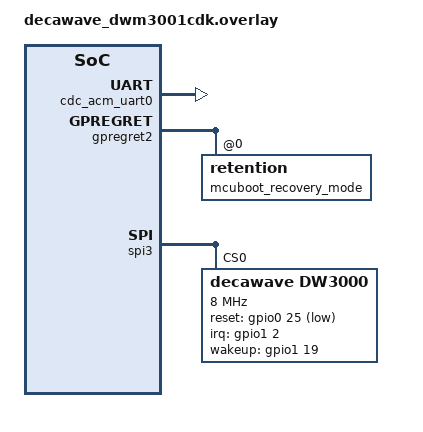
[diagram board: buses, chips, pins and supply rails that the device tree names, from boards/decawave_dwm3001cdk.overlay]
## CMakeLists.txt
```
# DWM3001CDK standalone credential lock: the reader engine, the CCC/FiRa responder,
# the DW3110 driver and the BLE stack in one nRF52833 image.
#
# ultrawidelock_uwb and modules/ultrawidelock_dw3000 come in as Zephyr modules because they carry their own
# Kconfig gating. modules/ultrawidelock_cred's reader core is listed
# directly here, the way tests/on_target/zephyr/nrf5340dk-ultrawidelock-device-ec does, so the nRF5340 build
# that consumes that module through CONFIG_ULTRAWIDELOCK_CRED_STACK stays untouched.
cmake_minimum_required(VERSION 3.20.0)

get_filename_component(REPO_ROOT "${CMAKE_CURRENT_LIST_DIR}/../.." ABSOLUTE)
# modules/ultrawidelock_cred is listed for its Kconfig alone: the reader sources use the
# LOG_MODULE the `module = ULTRAWIDELOCK_CRED` template declares, so CONFIG_ULTRAWIDELOCK_CRED_LOG_LEVEL
# has to exist. Its CMakeLists is gated on CONFIG_ULTRAWIDELOCK_CRED_STACK, which stays n
# here, so it contributes no sources and the nRF5340 build is unaffected.
# modules/ultrawidelock_anchor is listed on the same terms: its CMakeLists is gated on
# CONFIG_ULTRAWIDELOCK_ANCHOR, which is default n, so listing it here costs the default
# build nothing and only makes `overlay-anchor.conf` able to turn it on.
# modules/ultrawidelock_ml likewise, gated on CONFIG_ULTRAWIDELOCK_ML_LOS: default n, so the shipping
# image is byte-identical without it and only overlays/mlgate.conf turns it on.
list(APPEND ZEPHYR_EXTRA_MODULES
	"${REPO_ROOT}/modules/ultrawidelock_cred"
	"${REPO_ROOT}/modules/ultrawidelock_anchor"
	"${REPO_ROOT}/modules/ultrawidelock_matter"
	"${REPO_ROOT}/modules/ultrawidelock_ml"
	"${REPO_ROOT}/modules/ultrawidelock_uwb"
	"${REPO_ROOT}/modules/ultrawidelock_dw3000"
	"${REPO_ROOT}/ports/zephyr")

find_package(Zephyr REQUIRED HINTS $ENV{ZEPHYR_BASE})
project(ultrawidelock_reader_dwm3001cdk)

# Faster UWB evidence settings are measurements, not release policy. Refuse a
# configuration that could lower either floor without both explicit bench
# acknowledgement and strict STS enforcement.
if((CONFIG_ULTRAWIDELOCK_RANGE_TRUST_K LESS 3 OR
    CONFIG_ULTRAWIDELOCK_APPROACH_NEAR_DWELL LESS 2) AND
   (NOT CONFIG_ULTRAWIDELOCK_BENCH OR NOT CONFIG_ULTRAWIDELOCK_RANGE_GATE_STRICT))
	message(FATAL_ERROR
		"Reduced UWB consensus/dwell requires CONFIG_ULTRAWIDELOCK_BENCH=y "
		"and CONFIG_ULTRAWIDELOCK_RANGE_GATE_STRICT=y")
endif()

# APPROTECT must never be locked on this board. SystemInit() re-asserts the lock
# on every boot and the only way out is `nrfjprog --recover`, which mass-erases
# flash AND UICR -- taking settings_storage at 0x7e000 with it, and with that the
# reader private key and every iPhone key already provisioned against this board.
#
# This is the configure-time half of the guard: it fails the build of THIS image
# before a hex exists. scripts/check-approtect.sh is the other half and is the
# one that covers MCUboot, whose config lives outside this CMakeLists entirely.
# Both are needed -- the setting can arrive from a board defconfig or an SoC
# default that no grep of this tree would find, which is why the check that
# matters reads the GENERATED .config.
if(CONFIG_NRF_APPROTECT_LOCK OR CONFIG_NRF_SECURE_APPROTECT_LOCK)
	message(FATAL_ERROR
		"APPROTECT lock is enabled for this image. Refusing to build.\n"
		"  CONFIG_NRF_APPROTECT_LOCK        = ${CONFIG_NRF_APPROTECT_LOCK}\n"
		"  CONFIG_NRF_SECURE_APPROTECT_LOCK = ${CONFIG_NRF_SECURE_APPROTECT_LOCK}\n"
		"Locking is a one-way door for this board's DATA: recovering debug "
		"access costs a mass erase of flash and UICR, which destroys "
		"settings_storage and the reader identity. Export it first with "
		"`ultrawidelock export yes` if you genuinely intend this.")
endif()

set(CRED "${REPO_ROOT}/modules/ultrawidelock_cred")
set(PORTZ "${REPO_ROOT}/ports/zephyr")

# Reader-role source sets come from the role manifests (modules/ultrawidelock_cred/
# roles/*.list) — the same lists the ESP32 components, the nRF5340 apps and the
# host suite read, so each role's file set exists in exactly one place.
include("${REPO_ROOT}/cmake/ultrawidelock_roles.cmake")
ultrawidelock_role_sources("${CRED}/roles/reader.list" ULTRAWIDELOCK_READER_SRCS)
ultrawidelock_role_sources("${CRED}/roles/reader_policy.list" ULTRAWIDELOCK_POLICY_SRCS)
ultrawidelock_role_sources("${CRED}/roles/apdu.list" ULTRAWIDELOCK_APDU_SRCS)
ultrawidelock_role_sources("${CRED}/roles/crypto.list" ULTRAWIDELOCK_CRYPTO_SRCS)
ultrawidelock_role_sources("${CRED}/roles/hash.list" ULTRAWIDELOCK_HASH_SRCS)
ultrawidelock_role_sources("${CRED}/roles/dyntag.list" ULTRAWIDELOCK_DYNTAG_SRCS)
ultrawidelock_role_sources("${CRED}/roles/ble_central.list" ULTRAWIDELOCK_BLE_CENTRAL_SRCS)

target_sources(app PRIVATE
	src/main.c
	src/ml_feed.c
	# Platform seams the reader engine links against, re-homed to ports/zephyr
	# with the rest of the Zephyr glue. Listed by path rather than compiled by
	# the ultrawidelock_zephyr_port module because they are unconditional app glue with
	# no Kconfig gate to ride — this app IS the gate.
	${PORTZ}/ble/ultrawidelock_ble_zephyr.c
	${PORTZ}/store/ultrawidelock_prov_settings.c
	# Reader engine: roles reader + reader_policy + apdu + crypto + hash + dyntag.
	${ULTRAWIDELOCK_READER_SRCS}
	${ULTRAWIDELOCK_POLICY_SRCS}
	${ULTRAWIDELOCK_APDU_SRCS}
	${ULTRAWIDELOCK_CRYPTO_SRCS}
	${ULTRAWIDELOCK_HASH_SRCS}
	${ULTRAWIDELOCK_DYNTAG_SRCS}
)
if(CONFIG_ULTRAWIDELOCK_BENCH_CRED_O2)
	set_source_files_properties(
		"${CRED}/src/ultrawidelock_reader.c"
		"${CRED}/src/ultrawidelock_crypto.c"
		"${CRED}/src/ultrawidelock_hash.c"
		"${CRED}/src/ultrawidelock_prim_psa.c"
		PROPERTIES COMPILE_OPTIONS "-O2")
endif()
# Provisioning console (USB CDC-ACM, provisioning mode only).
target_sources_ifdef(CONFIG_ULTRAWIDELOCK_SIDE_GATE app PRIVATE src/side_feed.c)
# Measurement only; CONFIG_ULTRAWIDELOCK_THREAD_GATE defaults n so this is absent from
# every shipping image.
target_sources_ifdef(CONFIG_ULTRAWIDELOCK_THREAD_GATE app PRIVATE src/thread_gate.c)
# The two DoorLockAlarms, and the door-angle state they need. ANCHOR is default
# n, so the shipping image never compiles this. Both symbols, not just ANCHOR:
# the alarm is a Matter event, and `make reader ANCHOR=1` is an anchor build
# with no Matter node to carry one.
if(CONFIG_ULTRAWIDELOCK_ANCHOR AND CONFIG_ULTRAWIDELOCK_MATTER_BLE)
	target_sources(app PRIVATE src/door_alarm.c)
endif()
# The DFU receiver's BLE transport (ports/zephyr/dfu/dfu_ble_zephyr.c) and the
# rest of the gated Zephyr glue compile via the ultrawidelock_zephyr_port module under
# the same CONFIG symbols.
# The board's only output. NOT gated on the DFU receiver any more: the update
# window was the first thing worth showing, not the only one, and the `reader`
# image has no receiver and used to light nothing at all.
target_sources_ifdef(CONFIG_ULTRAWIDELOCK_STATUS_LED app PRIVATE src/status_led.c)
target_sources_ifdef(CONFIG_ULTRAWIDELOCK_CIRDIAG_CAPTURE app PRIVATE src/cirdiag_capture.c)
target_sources_ifdef(CONFIG_ULTRAWIDELOCK_CASE_BENCH app PRIVATE src/case_bench.c)
# Initiator (User-Device role) transport: ultrawidelock_zephyr_port compiles the central
# mirror of ultrawidelock_ble_zephyr.c under this gate; the platform-free advert/READ
# decoder it calls is the same translation unit the ESP32 port and the host
# suite compile.
target_sources_ifdef(CONFIG_ULTRAWIDELOCK_BLE_CENTRAL app PRIVATE ${ULTRAWIDELOCK_BLE_CENTRAL_SRCS})
# The commissioning policy half; its transport, Thread/fabric ports and fabric
# table store live in ports/zephyr/{matter,store} under the same gate.
target_sources_ifdef(CONFIG_ULTRAWIDELOCK_MATTER_BLE app PRIVATE src/matter_commission.c)

# CONFIG_MBEDTLS_MEMORY_DEBUG=y is a NO-OP in this build and sets no define.
# nrf_security only wires that symbol through configs/legacy_crypto_config.h.template
# (`#cmakedefine MBEDTLS_MEMORY_DEBUG`, line 1268); a PSA-only build
# (CONFIG_OBERON_ONLY_PSA_ENABLED) generates nrf-config.h from a different
# template that has no slot for it, so the Kconfig is accepted and silently
# dropped. The app then compiles against a declaration the library never
# defined and the link fails on mbedtls_memory_buffer_alloc_max_get.
#
# Define it for every target instead. Safe because the only struct it changes,
# buffer_alloc_ctx, is file-local to mbedtls/library/memory_buffer_alloc.c, so
# there is no layout to get out of step across compilation units.
if(CONFIG_ULTRAWIDELOCK_HEAP_PROBE)
	zephyr_compile_definitions(MBEDTLS_MEMORY_DEBUG)
endif()
# src for matter_commission.h (included by the re-homed ultrawidelock_ble_zephyr.c);
# ${PORTZ}/{matter,store} for the re-homed matter_ble_zephyr.h and
# matter_fab_settings.h, which main.c and matter_commission.c include
# regardless of CONFIG_ULTRAWIDELOCK_MATTER_BLE.
target_include_directories(app PRIVATE ${CRED}/include ${CRED}/src src
	${PORTZ}/matter ${PORTZ}/store)
```

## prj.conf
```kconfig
# DWM3001CDK standalone credential reader.
#
# The whole file is written against one constraint: 480 KB of code space, from
# the single-image partition layout in boards/decawave_dwm3001cdk.overlay. The
# stock board map would have given the app 224 KB, which is not enough. Every
# "=n" below is load-bearing, not tidiness.

CONFIG_SIZE_OPTIMIZATIONS=y

# One-shot application -> MCUboot recovery request in nRF52833 GPREGRET2.
# A normal boot performs no wait; the runtime SW2 hold sets this byte first.
CONFIG_RETAINED_MEM=y
CONFIG_RETENTION=y
CONFIG_RETENTION_BOOT_MODE=y

# ---- BLE: peripheral only, one connection, no bonding -----------------------
# credential runs its own application-layer secure channel over the L2CAP CoC, so
# BLE pairing/bonding buys nothing and costs both flash and a walk-up prompt.
# The shipped ESP32-S3 reader is unpaired for the same reason and unlocks a
# real iPhone Wallet key.
CONFIG_BT=y
CONFIG_BT_PERIPHERAL=y
CONFIG_BT_CENTRAL=n
CONFIG_BT_OBSERVER=n
CONFIG_BT_BROADCASTER=y
CONFIG_BT_MAX_CONN=1
CONFIG_BT_MAX_PAIRED=0
# SMP is compiled in only because Zephyr makes L2CAP CoC depend on it
# (zephyr/subsys/bluetooth/host/Kconfig.l2cap:49) — NimBLE does not, which is
# why the ESP32 port never needed this. It is never exercised: the GATT
# characteristics carry no _ENC/_AUTHEN permission, the L2CAP server sits at
# BT_SECURITY_L1, and nothing calls bt_conn_set_security. So the reader still
# never asks a phone to pair, which is the property the live-iPhone unlock
# depends on. Costed at stage 0 rather than assumed away.
CONFIG_BT_SMP=y
CONFIG_BT_BONDABLE=n
CONFIG_BT_SIGNING=n
CONFIG_BT_GATT_CACHING=n
CONFIG_BT_GATT_DYNAMIC_DB=n
CONFIG_BT_DEVICE_NAME="ultrawidelock"

# Connection interval: ask for 15-30 ms instead of riding whatever iOS picks.
#
# Every BLE flow on this board is round-trip bound, and one of them pays triple:
# the 255 B ACL buffer below splits a 512 B credential APDU across three PDUs, so an
# APDU costs up to three connection events in each direction. BTP fragments,
# CoC APDUs and DFU chunks all scale straight off the interval.
#
# This is Kconfig rather than a bt_conn_le_param_update() call BECAUSE of how
# the Zephyr peripheral works: that call does NOT send anything while the
# post-connect timer is still pending (host/conn.c:3786) -- it only stores the
# parameters for the timer to use. The request goes out when
# BT_CONN_PARAM_UPDATE_TIMEOUT fires, so the timeout IS the lever, and the PREF
# values are what gets sent. Adding a call site would have changed nothing.
#
# 300 ms rather than the stock 5,000: the whole walk-up transaction is ~650 ms,
# so a request at 5 s arrives after every flow it could have helped. The link
# layer needs >= 6 connection events of instant delay anyway, so the faster
# interval lands mid-transaction, not at its start.
#
# 12/24/0/200 = 15-30 ms, no latency, 2 s supervision. Valid per
# hci_core.c:1947-1960 and inside Apple's accessory guideline (min >= 15 ms,
# max >= min + 15 ms).
#
# MEASURED, and the reason the window is back to 12-24 rather than something
# cleverer: this iPhone grants 30 ms whatever it is asked for. Both 12-24 and
# 12-18 (a range whose only multiple of 15 ms is 15) came back as
# "interval 30.00 ms, latency 0, timeout 2000 ms" on 2026-08-06, on the
# commissioning link and again on the walk-up link. It honours the latency and
# the supervision timeout and picks the interval itself, so 30 ms is this
# phone's floor for this accessory and not a thing this end can bargain over.
# What survives is worth keeping -- 2 s of supervision instead of Zephyr's
# 420 ms default, and a request that arrives in time to matter if any other
# central (Android, a Home Assistant host, a controller doing DFU) does grant
# it -- but do not expect a faster walk-up from this knob on iOS.
CONFIG_BT_CONN_PARAM_UPDATE_TIMEOUT=300
CONFIG_BT_PERIPHERAL_PREF_MIN_INT=12
CONFIG_BT_PERIPHERAL_PREF_MAX_INT=24
CONFIG_BT_PERIPHERAL_PREF_LATENCY=0
CONFIG_BT_PERIPHERAL_PREF_TIMEOUT=200

# L2CAP CoC carries the credential transaction. 512-byte SDUs match the ESP port.
CONFIG_BT_L2CAP_DYNAMIC_CHANNEL=y
CONFIG_BT_L2CAP_TX_MTU=512
# Sized for a PDU, not an SDU. The host's HCI receive pool is UNIFIED and gives
# every buffer the largest of the ACL and event sizes (buf.h:165, buf.h:175), so
# a 527 B ACL buffer made all twelve cost 527 B: 6,384 B measured in .bss for a
# geometry only one of them needed. Nothing here reassembles into that pool --
# coc_alloc_buf() hands the host an s_coc_rx_pool buffer of its own and Zephyr
# builds the SDU there. At 255 the MPS falls to ~251, a 512 B SDU rides three
# PDUs instead of one, and the pool costs 3,060 B. The price is two extra
# connection events per credential APDU, which is nothing against a walk-up. BTP is
# untouched: it rides GATT at an ATT MTU of 247, which still fits one PDU.
CONFIG_BT_BUF_ACL_RX_SIZE=255
CONFIG_BT_BUF_ACL_TX_SIZE=251
# NOT raised, and worth a line so it is not tried again. CONFIG_BT_BUF_EVT_RX_SIZE
# cannot change what the controller checks: hci_driver.c compares against
# HCI_RX_BUF_SIZE = BT_BUF_RX_SIZE = MAX(ACL_RX_SIZE + 4, EVT_RX_SIZE + 2), which
# the 255 above already fixes at 259. Measured: raising it to 255 moved nothing
# and cost 752 B of RAM, a quarter of what this image has left.
CONFIG_BT_EATT=n

# ---- crypto -----------------------------------------------------------------
# nRF52833 has no CryptoCell, so PSA lands on the software nrf_oberon backend.
# That is a speed and flash cost, not a blocker. Same PSA_WANT set the nRF5340
# on-target EC self-test proved (tests/on_target/zephyr/nrf5340dk-ultrawidelock-device-ec/prj.conf).
CONFIG_NRF_SECURITY=y
CONFIG_MBEDTLS_PSA_CRYPTO_C=y
CONFIG_MBEDTLS_ENABLE_HEAP=y
# MEASURED, not argued. 16384 was a guess carried from the ESP port and it was
# the largest single object in .bss. With ULTRAWIDELOCK_HEAP_PROBE the peak across boot,
# PASE and a full CASE handshake is 228 B in 11 blocks -- reproduced on two
# independent runs, the second on a fully erased board with a new SRP key and a
# new node id. The Kconfig help for ULTRAWIDELOCK_HEAP_PROBE predicted this: the build
# is OBERON_ONLY_PSA_ENABLED with no MBEDTLS_BIGNUM_C or ECP_C, so ECDH and
# ECDSA run in driver stack buffers and only PSA key-slot material is ever
# mbedtls_calloc'd.
#
# 1024 kept 4.5x the measured peak, and it was not a fresh guess: the reader
# build was rebuilt at exactly that value and a live iPhone still unlocked, on a
# fresh session, for a saving of 15,360 B. CASE's own peak is 380 B, measured by
# ULTRAWIDELOCK_CASE_BENCH, so 1024 covered both users of this heap with room over.
#
# This line used to carry a caution -- "NOT cut to peak+2048: the one path this
# image cannot exercise is a credential unlock, because a Matter build carries no
# reader identity". That premise expired on 2026-08-02, when Apple Home began
# provisioning the reader itself and this image started doing full walk-up
# unlocks. The path the caution was about is now exercised by the very walk-up
# that validates every other RAM change, which is what makes the cut checkable
# rather than merely argued.
#
# 512 WAS TRIED ON 2026-08-03 AND BROKE MATTER OVER THREAD. Do not try it again
# without reading this, because the argument for it looks airtight and the
# failure lands nowhere near the heap.
#
# The 228 B peak above is real and was never wrong. What it does not cover is
# the one allocation this image makes rarely and cannot do without: creating a
# PERSISTENT PSA key. OpenThread's SRP client does exactly that -- this build
# has OPENTHREAD_CONFIG_PLATFORM_KEY_REFERENCES_ENABLE=1, so its ECDSA key is
# generated at PSA_KEY_LIFETIME_PERSISTENT (crypto_psa.c:591), which serialises
# the key, seals it with ChaCha20-Poly1305 and writes it through
# trusted_storage. None of that runs on the boot, PASE or CASE paths the 228 B
# was measured across, and none of it runs for a volatile key.
#
# MEASURED by srp_sign_self_test() in matter_commission.c: at 512 a volatile
# P-256 deterministic-ECDSA key generates, exports, imports and signs perfectly,
# and the identical sequence at persistent lifetime fails inside psa_generate_key
# with psa_status=-141, PSA_ERROR_INSUFFICIENT_MEMORY. Two log lines apart, same
# boot.
#
# WHAT IT LOOKS LIKE WHEN IT BREAKS, because it looks like anything but this.
# The board commissions over BLE, completes PASE, accepts AddNOC, attaches to
# Thread as a child and gets an off-mesh address -- and then never registers its
# name. OpenThread reports one value for it, kErrorFailed, which
# crypto_psa.c:22-34 maps every PSA error onto except two, and which
# dns_types.cpp:52-100 ALSO produces from a server SERVFAIL. So the log says
# "SRP registration FAILED (1) -- the commissioner cannot resolve this node",
# every finger points at the border router, and an afternoon goes into the
# network before anyone suspects a RAM constant.
CONFIG_MBEDTLS_HEAP_SIZE=1024

# PSA PERSISTENT-KEY STORAGE MUST STAY ON. Do not cut it, and here is the
# receipt, because the argument for cutting it is convincing and wrong.
#
# The argument: this image's PSA_WANT list above names no ChaCha, yet the build
# links a whole ChaCha20-Poly1305 -- MEASURED from the map, ocrypto_chacha20
# 874 B + ocrypto_poly1305 1,250 B + ocrypto_chacha20_poly1305 762 B = 2,886 B,
# before the ITS glue on top. It arrives because MBEDTLS_PSA_CRYPTO_STORAGE_C
# pulls in TRUSTED_STORAGE, whose AEAD backend has exactly one cipher choice
# (nrf/subsys/trusted_storage/Kconfig:84-98, no AES-GCM alternative to switch
# to). And nothing in modules/ or apps/dwm3001cdk-lock/src calls psa_set_key_id() or asks
# for PSA_KEY_LIFETIME_PERSISTENT: the reader identity and the Matter fabrics
# are settings-store data owned by ultrawidelock_prov_settings.c and
# matter_fab_settings.c, not by PSA. Total saving, measured: 6,480 B of flash.
#
# Why it is wrong: OPENTHREAD_CRYPTO_PSA=y, so OpenThread's own platform glue
# is the caller this tree cannot see. zephyr/modules/openthread/platform/
# crypto_psa.c:180 imports keys at PSA_KEY_LIFETIME_PERSISTENT, and :591
# generates the SRP ECDSA key that way UNCONDITIONALLY. With the storage gone
# they cannot succeed, and the node cannot hold a network key. Which
# psa_status_t comes back was NOT measured -- the failure below logs no status
# at all -- so do not quote one; the call sites are the evidence.
#
# The failure does not look like a crypto failure. MEASURED 2026-08-03: PASE
# completed, AddNOC returned status 0, the 107 B dataset was accepted, and then
# "Thread still detached after 20000 ms" with the commissioner giving up on the
# BLE link 18 s in. Nothing logged an error, because every layer that could
# have was upstream of the one that failed.
#
# Grep workspace/ before calling a PSA lifetime unused here. The tracked tree is
# not the whole caller set, and this cost a commissioning round to learn.

CONFIG_PSA_WANT_ALG_ECDSA=y
CONFIG_PSA_WANT_ALG_ECDH=y
CONFIG_PSA_WANT_KEY_TYPE_ECC_KEY_PAIR_GENERATE=y
CONFIG_PSA_WANT_KEY_TYPE_ECC_KEY_PAIR_IMPORT=y
CONFIG_PSA_WANT_KEY_TYPE_ECC_KEY_PAIR_EXPORT=y
CONFIG_PSA_WANT_KEY_TYPE_ECC_KEY_PAIR_DERIVE=y
CONFIG_PSA_WANT_KEY_TYPE_ECC_PUBLIC_KEY=y
CONFIG_PSA_WANT_ECC_SECP_R1_256=y
CONFIG_PSA_WANT_ALG_SHA_256=y
# No PSA_WANT_ALG_HKDF here on purpose. It depends on PSA_WANT_ALG_HMAC, which
# this image does not enable, so assigning it only produced a Kconfig warning
# and the value n -- psa_key_derivation_setup() returns PSA_ERROR_NOT_SUPPORTED.
# Nothing missed it: key derivation goes through ultrawidelock_hkdf()
# (modules/ultrawidelock_cred/src/ultrawidelock_hash.c), pure C11 and already linked. Turning the
# PSA one on would cost flash for a second implementation of RFC 5869.
CONFIG_PSA_WANT_ALG_CMAC=y
CONFIG_PSA_WANT_ALG_ECB_NO_PADDING=y
CONFIG_PSA_WANT_ALG_GCM=y
CONFIG_PSA_WANT_KEY_TYPE_AES=y
CONFIG_PSA_WANT_GENERATE_RANDOM=y

# ---- UWB: CCC/FiRa responder on the module's own DW3110 ---------------------
CONFIG_SPI=y
# ports/zephyr/dw3000/dw3000_spi.c uses spi_transceive_signal (the async API),
# same as the nRF5340 build does via apps/nrf5340dk-lock/build.sh.
CONFIG_SPI_ASYNC=y
CONFIG_DW3000=y
CONFIG_DW3000_CHIP_DW3000=y
CONFIG_ULTRAWIDELOCK_UWB=y
CONFIG_ULTRAWIDELOCK_UWB_RESPONDER=y
# Single-core SoC: BLE shares the core with the ranging callbacks, so the live
# DS-TWR timestamps get overwritten before Final_Data is processed (km-scale
# garbage). Use the same-round snapshot latched at Final RX, like the ESP path.
CONFIG_ULTRAWIDELOCK_UWB_FINAL_SNAPSHOT=y
CONFIG_ULTRAWIDELOCK_CRED=y
CONFIG_ULTRAWIDELOCK_CRYPTO_PSA=y

# ---- provisioning / trust store ---------------------------------------------
# CONFIG_MPSL_TIMESLOT_SESSION_COUNT is deliberately NOT set here, and it was
# set for a while by mistake. Flash writes do go through an MPSL timeslot on this
# board (SOC_FLASH_NRF_RADIO_SYNC_MPSL), but the driver brings its OWN session:
# mpsl_init.c:205 initialises MPSL with CONFIG_MPSL_TIMESLOT_SESSION_COUNT PLUS
# CONFIG_SOC_FLASH_NRF_RADIO_SYNC_MPSL_TIMESLOT_SESSION_COUNT, and the latter
# already defaults to 1 whenever flash sync is on. Adding one here buys a second
# session context nothing opens.
CONFIG_FLASH=y
CONFIG_FLASH_MAP=y
CONFIG_NVS=y
CONFIG_SETTINGS=y
CONFIG_SETTINGS_NVS=y

# ---- provisioning console (USB CDC-ACM, provisioning mode only) --------------
# The reader identity is per-device data in the settings store, so it has to be
# typed in at runtime. RTT is output-only and the J-Link VCOM belongs to the
# probe, so the input path is the second USB port, which is wired straight to
# the nRF52833. main() calls usb_enable() ONLY when SW2 is held through reset,
# so an operational boot pays the flash for this but never runs a USB interrupt
# next to the DW3110's delayed-TX window.
CONFIG_GPIO=y
CONFIG_SERIAL=y
CONFIG_USB_DEVICE_INITIALIZE_AT_BOOT=n
# The shell and USB sizes that this console needs live in Kconfig under
# CONFIG_ULTRAWIDELOCK_PROV_CONSOLE, with the measurement behind each one. They cannot
# sit here: a .conf assignment is unconditional, so a build that turns the
# console off (a Matter node self-provisions, and reader + console + Thread
# overflows RAM by 1,752 B anyway) would leave them unsatisfiable and NCS aborts
# on the Kconfig warning.
# Logs stay on RTT. CONFIG_LOG_MODE_MINIMAL writes straight to the console and
# does not drive backends, so a shell log backend would cost RAM and deliver
# nothing.
CONFIG_SHELL_LOG_BACKEND=n
CONFIG_SHELL_HISTORY=n
# The `ultrawidelock` command tree here is provisioning only (apps/dwm3001cdk-lock/src/
# prov_shell.c). ultrawidelock_uwb's console of the same name drives a radio that
# provisioning mode never starts.
CONFIG_ULTRAWIDELOCK_UWB_SHELL=n

# ---- what is deliberately absent --------------------------------------------
# Console stays on, but over RTT rather than UART (see logging below).
CONFIG_UART_CONSOLE=n
# MCUboot IS built, and this file no longer decides that: sysbuild.conf does,
# through SB_CONFIG_BOOTLOADER_MCUBOOT. Sysbuild pushes the answer down onto
# this image itself (zephyr/share/sysbuild/image_configurations/
# MAIN_image_default.cmake:8 calls set_config_bool on CONFIG_BOOTLOADER_MCUBOOT),
# and that assignment is applied AFTER prj.conf -- so a `=n` here would not win,
# it would just make this file lie about the image it describes.
#
# What it used to say, kept because the mechanism is still true and still the
# thing that surprises people: CONFIG_BOOTLOADER_MCUBOOT is what produces the
# flash map, not the DTS. With it off, Partition Manager gave `app`
# 0x0..0x7e000 (504 KB) and ignored the 224 KB dual-slot layout in the board
# DTS entirely. With it on, PM builds a bootloader map instead -- and because
# `app` no longer starts at 0 and must not swallow settings_storage, the map is
# now PINNED in pm_static.yml rather than derived. See that file for the sizes
# and boards/decawave_dwm3001cdk.overlay for why the DTS partition nodes remain
# inert either way.
#
# The application still has no SMP server: recovery lives in the bootloader,
# reachable at boot over the J-Link VCOM, and an operational image that also
# spoke mcumgr would be a second write path into its own flash for no gain.
CONFIG_MCUMGR=n

# ---- logging ----------------------------------------------------------------
# RTT, not UART: the delayed-TX reply window on this single-core part cannot
# afford a blocking console write. Minimal mode drops the deferred-logging
# machinery, which is the part that actually costs flash.
CONFIG_LOG=y
CONFIG_LOG_MODE_MINIMAL=y
CONFIG_LOG_DEFAULT_LEVEL=3
CONFIG_USE_SEGGER_RTT=y
CONFIG_RTT_CONSOLE=y
# 8 KB up-buffer, not the 1 KB default. RTT is this board's ONLY console, and
# the default policy is NO_BLOCK_SKIP: once the buffer fills, writes are
# silently DISCARDED. Boot output here exceeds 1 KB, so the default truncates
# mid-line and looks exactly like a hang -- it cost a debugging detour to learn.
# Deliberately not BLOCK_IF_FIFO_FULL: that never drops a byte, but it stalls
# the firmware forever when no debugger is draining the buffer.
CONFIG_SEGGER_RTT_BUFFER_SIZE_UP=8192
# Re-initialize the RTT control block unconditionally. The default here is
# STRONG_CHECK -- and it is the default precisely BECAUSE the RTT data sits in
# a custom section (zephyr/modules/segger/Kconfig:120), whose whole purpose is
# to "avoid re-init of Control Block if another program (e.g. bootloader) has
# already initialized it". That assumes a cooperative bootloader. Ours is not
# one: MCUboot here has no LOG, no PRINTK and no USE_SEGGER_RTT, so it never
# initializes RTT -- it just uses that RAM as ordinary BSS and stack.
#
# And it is the SAME RAM. segger_rtt.ld places the section (NOLOAD) sorted to
# RAM start, so the ring lands at 0x20000010 and the control block at
# 0x20002010, while MCUboot's own _image_ram_end is 0x200049c0. The bootloader
# spans both. Without this line the application finds a control block it
# declines to touch and streams MCUboot's leftover RAM to the console as
# binary garbage interleaved with real log lines.
#
# The cost is that the ring no longer survives a reset. That was already gone:
# MCUboot overwrites it on every boot, before this image runs at all.
CONFIG_SEGGER_RTT_INIT_MODE_ALWAYS=y

CONFIG_MAIN_STACK_SIZE=4096
CONFIG_SYSTEM_WORKQUEUE_STACK_SIZE=4096
CONFIG_HEAP_MEM_POOL_SIZE=4096
```

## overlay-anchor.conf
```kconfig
# Two-anchor geometry on the door node.
#
#   make build ANCHOR=1 CDK_BUILD=build/cdk-anchor
#
# Use ANCHOR=1 and not a hand-written CDK_CONF. CDK_CONF is the WHOLE overlay
# list, so setting it by hand drops whatever you forgot to repeat -- and the one
# most easily forgotten is overlay-lto.conf, which is worth about 41 KB of
# flash. It fails as a 39 KB regression attributed to whatever you were
# measuring, with no warning anywhere. Measured here the first time round.
#
# NOT in the default build, and that is the point: the shipping image stays
# byte-identical until someone decides to pay for this. Every symbol below is
# default n.
#
# What it buys: the second anchor's verdict gates UNLOCK_PREDICT (and only
# PREDICT), plus an impact/tamper interrupt from the accelerometer that is
# already linked into the image and currently does nothing.
#
# What it costs: measure it. `make cdk-size-check CDK_BUILD=build/cdk-anchor`
# against a build without this file is the only number worth quoting, because
# the CDK Matter image is the one where a new static allocation is a decision
# rather than a detail.
#
# Nothing feeds the satellite verdict yet -- Stage C owns the transport -- and
# that is a working state: with no report the verdict is UNKNOWN, UNKNOWN
# permits prediction, and the door behaves exactly as it does today.

CONFIG_ULTRAWIDELOCK_ANCHOR=y
CONFIG_ULTRAWIDELOCK_ANCHOR_SLAM=y

# Placeholders, all of them. The baseline is a tape-measure fact about where the
# two boards ended up; the tolerance and dead band come from the ranging jitter
# stage A actually measures, not from the target it aims at; and the impact
# threshold has to come from a capture of this door being closed and slammed.
CONFIG_ULTRAWIDELOCK_ANCHOR_BASELINE_MM=1200
CONFIG_ULTRAWIDELOCK_ANCHOR_TOL_MM=90
CONFIG_ULTRAWIDELOCK_ANCHOR_DEADBAND_MM=60
CONFIG_ULTRAWIDELOCK_ANCHOR_STALE_MS=1500
CONFIG_ULTRAWIDELOCK_ANCHOR_SELF_INSIDE=y
CONFIG_ULTRAWIDELOCK_ANCHOR_SLAM_THRESHOLD_MG=2000
```

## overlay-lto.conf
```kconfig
# Link-time optimisation for the Matter over Thread image.
#
# APPLIED BY DEFAULT to both the debug and the release variant. To build without
# it:
#   make build LTO=0
#
# BOTH LINES ARE REQUIRED, and this is the trap worth knowing. `CONFIG_LTO=y` on
# its own is a silent no-op: the symbol depends on
#   !(GEN_ISR_TABLES || GEN_IRQ_VECTOR_TABLE) || ISR_TABLES_LOCAL_DECLARATION
# (zephyr/Kconfig.zephyr:526-528). With that dependency unmet Kconfig does not
# merely leave LTO off, it drops the symbol from the generated .config entirely,
# and emits no warning while doing it. Never trust a size number from this
# overlay without grepping build/<dir>/dwm3001cdk-lock/zephyr/.config for BOTH symbols.
#
# WHY IT WAS GATED, and what cleared the gate. LTO is whole-program codegen on
# an image whose UWB ranging path has a ~1836 us arm deadline, and a smaller
# binary is no evidence whatever that the deadline still holds. The only check
# that could prove it is a walk-up unlock on hardware.
#
# That ran 2026-08-02 on the debug image (405,296 B flash, 123,752 B RAM): two
# grants, a relock at 336 cm once past the 250 cm departure gate, a re-grant on
# the return leg at 45 cm, and 604 RX with the STS live throughout. Distance
# tracked unbroken from 1 cm to 584 cm and back. Re-run that walk-up after any
# change that could move the ranging path, not just after changes to this file.
CONFIG_LTO=y
CONFIG_ISR_TABLES_LOCAL_DECLARATION=y
```

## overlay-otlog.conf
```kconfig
# OpenThread's own logging, for diagnosing what the mesh refuses to do.
#
#   make build OTLOG=1 CDK_BUILD=build/cdk-otlog
#
# NEVER SHIP THIS. It is here because OpenThread's log level is 0 in every other
# configuration, and 0 is not a choice this tree made: the level Kconfig sits
# behind `depends on OPENTHREAD_DEBUG` (zephyr/modules/openthread/Kconfig:66-68),
# so with debug off the symbol falls through every default and lands on 0. The
# stack is silent by construction, and no amount of CONFIG_LOG_DEFAULT_LEVEL
# changes that.
#
# WHAT IT BOUGHT, on the first run. Not what this file originally predicted: it
# expected to catch the SRP server's verdict on a registration the application
# could only see as one undifferentiated otError. There was no verdict, because
# there was no registration. MEASURED 2026-08-03, three minutes attached:
#
#   [I] SrpClient-----: HostInfo Removed -> ToAdd
#   [I] SrpClient-----: Service Removed -> ToAdd, "..." "_matter._tcp"   (x2)
#
# and then nothing for the rest of the log. No "Rejected", and -- the line that
# actually answers it -- no "SrpClientInfo {Server:[...]}" at all, so the client
# never chose a server to send to. Both services sat at ToAdd forever while the
# node was a healthy attached child: OMR address configured, Matter subscriptions
# restored over the reboot, and a walk-up credential unlock completing end to end.
#
# The boot-time "NO off-mesh-routable address" warning is NOT that failure. It
# fires 9 ms after Thread start with the role still detached, and the same run
# later carries Matter traffic on the border router's prefix.
#
# So the question moved, and CONFIG_ULTRAWIDELOCK_SRP_DIAG below is where it moved to:
# whether auto-start is ever offered a server at all. The OpenThread lines are
# still what makes that readable -- they are the proof network data arrived.
#
# LOG_MODE_MINIMAL HAS TO GO, and that is a link error rather than a choice.
# otPlatLog (zephyr/modules/openthread/platform/logging.c:38) forwards through
# log_generic(), the runtime vararg API, and minimal mode does not implement it:
#
#   otPlatLog.constprop.0: undefined reference to `z_log_msg_runtime_vcreate'
#
# So OpenThread's logging and CONFIG_LOG_MODE_MINIMAL cannot both be on. That is
# the real reason this stack has been silent, not the level alone.
#
# CONFIG_LOG_DEFAULT_LEVEL MUST STAY AT 3. logging.c registers no log module of
# its own, so these lines arrive under the default module and the default level
# filters them. Turning the app's own logging down to save room takes the very
# lines this overlay exists to print.
#
# COSTS FLASH, AND IT FITS -- barely. MEASURED 2026-08-03 against the 433,664 B
# app partition: 423,636 B, 97.69%, 10,028 B free, everything in this file
# included. The default build is 409,988 B / 94.54%, so this overlay costs
# 13,648 B. That is most of the free partition for a build that exists to answer
# one question, which is the other reason this never ships. An overflow fails
# the link, which is the right failure -- nothing ships and nothing is flashed.
#
# DO NOT SET CONFIG_OPENTHREAD_PLATFORM_LOG_LEVEL. otPlatLog gates on it
# (logging.c:46) so it looks like the knob, but Kconfig:100 declares it as an
# int with no prompt, derived from the level choice below -- INFO gives it 3 on
# its own. Assigning it aborts the CMake configure rather than warning.
CONFIG_LOG_MODE_MINIMAL=n
CONFIG_LOG_MODE_IMMEDIATE=y
CONFIG_OPENTHREAD_DEBUG=y
CONFIG_OPENTHREAD_LOG_LEVEL_INFO=y

# ROOM FOR THE ABOVE. The first build that linked overflowed FLASH by 1,120 B,
# so three modules give up their INF and WRN strings. None of them can touch the
# question this overlay asks: the SRP client is inside OpenThread and reaches
# the console through otPlatLog, not through any of these.
#
# The app's own errors survive -- LOG_ERR is still compiled in, which is the
# level "SRP registration FAILED" is logged at. What is lost is the INF
# narration around it ("Thread attached", "reachable"), and OpenThread's own
# logging is more than dense enough to place events in time without it.
#
# Every symbol here was read out of a generated .config first. A module log
# level that does not exist is not a warning, it aborts the CMake configure --
# the same way CONFIG_OPENTHREAD_PLATFORM_LOG_LEVEL did above.
CONFIG_BT_LOG_LEVEL_ERR=y
CONFIG_ULTRAWIDELOCK_DFU_LOG_LEVEL_ERR=y
CONFIG_ULTRAWIDELOCK_CRED_LOG_LEVEL_ERR=y

# THE QUESTION THIS OVERLAY NOW ASKS. The first run with OpenThread's logging on
# showed no server rejection at all -- no rejection, and no server. See
# CONFIG_ULTRAWIDELOCK_SRP_DIAG in apps/dwm3001cdk-lock/Kconfig for what it prints and why network
# data changing is the only moment worth printing it. Lives here rather than in
# a second overlay because it is unreadable without the OpenThread lines around
# it: they are what proves network data arrived at all.
#
# matter_thread is deliberately NOT trimmed above, so its INF and WRN survive.
CONFIG_ULTRAWIDELOCK_SRP_DIAG=y
```

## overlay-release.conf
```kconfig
# Release profile for the Matter over Thread image.
#
# Build with:
#   make build RELEASE=1
#
# Everything here buys RAM or boot time by giving up ON-BOARD DEBUGGING, so do
# not flash it to a board you are still bringing up. The debug default is what
# every size measurement was taken against, and it stays the default precisely
# because this port is still being debugged.

# The RTT up-buffer is 8,376 B of RAM in a section of its own -- bigger than any
# single thread stack, and on the debug image bigger than the entire free
# margin. 8192 is load-bearing WHILE DEBUGGING: at 4096 the ring filled
# mid-ranging and NO_BLOCK_SKIP silently dropped the grant line, which cost a
# walk-up to diagnose. That is exactly why the ring is given up HERE and nowhere
# else. A release board has no debugger draining it, so the ring only has to
# hold enough to be worth reading if someone attaches after a fault.
#
# Consequence to accept knowingly: with 1 KB the boot log alone truncates, and
# under NO_BLOCK_SKIP it is the NEWEST writes that are discarded. On this image
# a fault therefore looks like a hang. If you are diagnosing anything, drop
# RELEASE=1 rather than raising this number here.
CONFIG_SEGGER_RTT_BUFFER_SIZE_UP=1024

# Stack painting costs no RAM -- it fills the stacks that already exist -- but it
# costs boot time on every one of the 13 of them, and it exists to be read by a
# debugger that a release board does not have. Kept ON in the debug default,
# where CONFIG_OPENTHREAD_THREAD_STACK_SIZE and CONFIG_SYSTEM_WORKQUEUE_STACK_SIZE
# are still being sized from the 0xAA runs.
CONFIG_INIT_STACKS=n

# Errors only. This is the single largest flash lever on the image and it was
# hiding behind the RAM story: the release profile already gave up the 8 KB RTT
# RING above, but every wrn/inf/dbg FORMAT STRING was still linked into rodata
# for a board with a 1 KB ring that nobody is draining.
#
# MEASURED on this overlay, 2026-08-04, SMP=1 RELEASE=1, app partition only:
#
#   baseline (LOG_DEFAULT_LEVEL=3)   417,308 B   96.23%    16,356 B free
#   LOG_DEFAULT_LEVEL=1              396,740 B   91.49%    36,924 B free
#   CONFIG_LOG=n                     374,796 B   86.43%    58,868 B free
#
# So dropping to errors is worth 20,568 B and dropping logging entirely is
# worth 42,512 B. Level 1 is what is set here, deliberately: the extra 21,944 B
# is real but it buys nothing you can currently spend, and it costs the only
# post-fault evidence this board can produce. RAM moves by 192 B either way --
# this lever is flash, not RAM, which is why it never showed up in the RAM
# inventory.
#
# If a future feature needs that last 21,944 B, CONFIG_LOG=n is measured and
# ready. Do not take it speculatively.
CONFIG_LOG_DEFAULT_LEVEL=1
```

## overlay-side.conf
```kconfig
# Fail-closed INSIDE/OUTSIDE/THRESHOLD gate for passive approach unlock.
#
#   make build SIDE=1 CDK_BUILD=build/cdk-side
#
# Requires commissioned BLE witnesses feeding the lock. Without them, every
# passive unlock is withheld (fail-closed). NFC Express Mode and Apple Home
# commands are unchanged.
#
# Use SIDE=1 rather than rewriting CDK_CONF by hand (same trap as ANCHOR=1:
# dropping overlay-lto.conf costs ~41 KB).

CONFIG_ULTRAWIDELOCK_ANCHOR=y
CONFIG_ULTRAWIDELOCK_SIDE_GATE=y

# Bench-only, both default n. The RTT feed needs a debug probe holding the
# connection, and the peer emit logs the phone's resolvable private address so
# the witnesses can filter on it. Neither belongs in a shipped image.
CONFIG_ULTRAWIDELOCK_SIDE_FEED_RTT=y
CONFIG_ULTRAWIDELOCK_SIDE_PEER_EMIT=y
CONFIG_SEGGER_RTT_BUFFER_SIZE_DOWN=512

CONFIG_ULTRAWIDELOCK_ANCHOR_BASELINE_MM=1200
CONFIG_ULTRAWIDELOCK_ANCHOR_TOL_MM=90
CONFIG_ULTRAWIDELOCK_ANCHOR_DEADBAND_MM=60
CONFIG_ULTRAWIDELOCK_ANCHOR_STALE_MS=1500
CONFIG_ULTRAWIDELOCK_ANCHOR_SELF_INSIDE=y
```

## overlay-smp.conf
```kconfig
# SMP over Bluetooth, so a phone can push an update with off-the-shelf tooling.
#
#   make build SMP=1 RELEASE=1 && make flash                  # what ships
#   make build SMP=1 PRISTINE=1 && make flash                 # debug; PRISTINE=1 needed when switching from RELEASE=1
#
# WHAT THIS BUYS. nRF Device Manager and nRF Connect for iOS speak mcumgr and
# nothing else. With this overlay the board answers them, and an update needs no
# Mac, no Python and no cable: Images -> Upload the .wdfu patch, then Device ->
# Reset. The native L2CAP channel (src/dfu_ble_zephyr.c) stays exactly as it
# was, so `make dfu` is unaffected and either route works.
#
# RELEASE=1 USED TO BE EFFECTIVELY REQUIRED. It is not any more, and the reason
# is worth reading before you reach for it out of habit.
#
# What this file said, measured at the time and correct then:
#
#     debug   + SMP    128,660 B of 131,072   98.16%     2,412 B free
#     release + SMP    121,492 B of 131,072   92.69%     9,580 B free
#
# 2,412 B is not enough to absorb a connection event on a board also running
# Thread, Matter and UWB, so RELEASE=1 was the only way to fit -- and since its
# cost is the 8 KB RTT ring, that made SMP the configuration you could not debug
# over SWD. "Keep a debug build to hand before flashing it" was the workaround.
#
# MEASURED AGAIN 2026-08-04, after standalone OpenThread retired the Zephyr IP
# layer (see overlay-thread.conf) and errors-only logging landed in
# overlay-release.conf:
#
#     debug   + SMP    118,308 B of 131,072   90.26%    12,764 B free
#     release + SMP    111,012 B of 131,072   84.70%    20,060 B free
#
# A DEBUG SMP IMAGE NOW HAS MORE RAM FREE THAN THE SHIPPING IMAGE DID. 12,764 B
# against the 9,580 B that release+SMP had to be built for. So `make build SMP=1`
# with no RELEASE=1 is a real configuration now: mcumgr, the full 8 KB ring and
# level-3 logging at once. That is the build to reach for when something fails
# during commissioning, because at RELEASE=1's log level 1 a stall at "Adding to
# Home" says nothing at all.
#
# RELEASE=1 is still what ships. It is no longer what makes this fit.
#
# WHAT IS NOT ENABLED, and cannot be. Zephyr's own image group:
#
#     CONFIG_MCUMGR_GRP_IMG ... was assigned the value 'y' but got 'n'.
#     Check these unsatisfied dependencies:
#         IMG_MANAGER (=n), (!MCUBOOT_BOOTLOADER_MODE_SINGLE_APP) (=n)
#
# img_mgmt is gated off by single-slot mode ITSELF, not by a missing partition,
# so no renaming of patch_staging reaches it. Single-slot mode is what makes
# MCUboot fit in a 512 KB part. ports/zephyr/dfu/dfu_smp_img.c therefore
# serves group 1 directly, forwarding every byte into the same receiver, the
# same signature check and the same window gate as the native transport.

CONFIG_ZCBOR=y
CONFIG_MCUMGR=y
CONFIG_MCUMGR_TRANSPORT_BT=y

# THE SECURITY COST OF THIS LINE, stated plainly. The permission choice defaults
# to _RW_AUTHEN whenever BT_SMP is on, which demands a paired link -- and this
# reader must never ask a phone to pair, because pairing is not how a credential
# credential authorises anything. _RW removes the prompt and leaves the SMP
# endpoint writable by any unpaired peer in radio range.
#
# What stands in front of it is the update window, and only that: uploads and
# erases are refused with ACCESS_DENIED until the owner presses SW2 or Apple
# Home opens a commissioning window. Behind it, the patch is signed and MCUboot
# re-verifies the result, so no peer can install code either way.
#
# If you do not need phone tooling, leave this overlay off. The native L2CAP
# channel gates on the same window and needs no world-writable endpoint.
CONFIG_MCUMGR_TRANSPORT_BT_PERM_RW=y

# Big enough that a 400+ B upload chunk arrives in one buffer, small enough that
# two of them are 1 KB. Count 2 is the minimum that lets a response be built
# while the next request is being reassembled.
CONFIG_MCUMGR_TRANSPORT_NETBUF_SIZE=512
CONFIG_MCUMGR_TRANSPORT_NETBUF_COUNT=2
CONFIG_MCUMGR_TRANSPORT_WORKQUEUE_STACK_SIZE=2048

# Group 1, ours. Group 0 for the reset that starts the bootloader applying.
CONFIG_ULTRAWIDELOCK_DFU_SMP_IMG=y
CONFIG_MCUMGR_GRP_OS=y

# THE RESET GATE, and it is load-bearing. Group 0 command 5 reboots the board,
# and with _RW above it is reachable by any unpaired peer in radio range -- a
# reboot loop on a door lock, needing no credential and no pairing. The hook
# lets dfu_smp_img.c refuse a reset unless the owner opened an update window or
# a verified patch is already staged. Turning either symbol off silently
# reopens that hole, because the handler simply stops being called.
CONFIG_MCUMGR_MGMT_NOTIFICATION_HOOKS=y
CONFIG_MCUMGR_GRP_OS_RESET_HOOK=y

# Everything else off. Each of these is an endpoint an unpaired peer could
# reach, and none is needed to move a patch: taskstat and info leak the
# firmware's internals, and fs/settings/shell would expose the reader identity
# and the Matter fabrics that live in settings_storage.
CONFIG_MCUMGR_GRP_OS_TASKSTAT=n
CONFIG_MCUMGR_GRP_OS_INFO=n
CONFIG_MCUMGR_GRP_OS_BOOTLOADER_INFO=n
CONFIG_MCUMGR_GRP_SHELL=n
CONFIG_MCUMGR_GRP_STAT=n
CONFIG_MCUMGR_GRP_FS=n
CONFIG_MCUMGR_GRP_SETTINGS=n
```

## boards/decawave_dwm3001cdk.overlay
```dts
/*
 * DWM3001CDK standalone credential reader — board overlay.
 *
 * Declare the DW3110 that is already wired inside the DWM3001C module. &spi3 is
 * enabled by the board with CS on P1.06; only the side-band GPIOs are ours to
 * add. Pin values are cross-checked between the upstream Zephyr board files and
 * Qorvo's own uwb_stack_llhw.cmake (DW3_QM33_SDK 1.1.1), which agree on all of:
 *   SCK P0.03 · MOSI P0.08 · MISO P0.29 · CS P1.06
 *   IRQ P1.02 · RESETn P0.25 · WAKEUP P1.19
 *
 * NOTE ON PARTITIONS. This overlay deliberately does NOT touch the flash map.
 * The board's DTS carries an MCUboot dual-slot layout whose app slot is only
 * 0x38000 (224 KB), but NCS builds this with Partition Manager, which ignores
 * the DTS partitions entirely and derives its own map. With
 * CONFIG_BOOTLOADER_MCUBOOT=n that map is:
 *
 *     app              0x00000..0x7e000   504 KB
 *     settings_storage 0x7e000..0x80000     8 KB
 *
 * Verified by building with and without a DTS partition override: partitions.yml
 * came out byte-identical both ways, as did the memory report. So a DTS override
 * here would be inert and would mislead the next reader into thinking the app
 * slot depends on it. If the map ever needs to change, add a pm_static.yml —
 * that is the knob Partition Manager actually reads.
 */

/*
 * Provisioning console. The DWM3001CDK's second USB port goes straight to the
 * nRF52833's device interface, so CDC-ACM is the board's only input path (RTT
 * is output-only and uart0 belongs to the J-Link OB's VCOM). The shell is bound
 * here rather than to uart0 so that plugging in that port is what reaches the
 * console. main() only calls usb_enable() in provisioning mode, so this node is
 * inert on an operational boot.
 */
&zephyr_udc0 {
	cdc_acm_uart0: cdc_acm_uart0 {
		compatible = "zephyr,cdc-acm-uart";
	};
};

/ {
	chosen {
		zephyr,shell-uart = &cdc_acm_uart0;
		/* One-shot application request shared with MCUboot. GPREGRET2
		 * survives a warm reset and avoids the Nordic-owned GPREGRET1. */
		zephyr,boot-mode = &mcuboot_recovery_mode;
	};
};

&gpregret2 {
	mcuboot_recovery_mode: retention@0 {
		compatible = "zephyr,retention";
		status = "okay";
		reg = <0x0 0x1>;
	};
};

&spi3 {
	dw3000: dw3000@0 {
		compatible = "decawave,dw3000";
		reg = <0>;
		/* The module's SPI trace is short and internal, but hold the first
		 * bring-up at the same 8 MHz the seated DWM3000EVB is proven at.
		 * Raise only with a DEV_ID read loop as evidence. */
		spi-max-frequency = <8000000>;
		reset-gpios  = <&gpio0 25 GPIO_ACTIVE_LOW>;
		irq-gpios    = <&gpio1  2 GPIO_ACTIVE_HIGH>;
		wakeup-gpios = <&gpio1 19 GPIO_ACTIVE_HIGH>;
	};
};

&gpio1 {
	status = "okay";
};
```

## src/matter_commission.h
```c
/* SPDX-License-Identifier: ISC */

/**
 * @file matter_commission.h — start answering commissioning attempts.
 */
#pragma once

#include <stdbool.h>

#ifdef __cplusplus
extern "C" {
#endif

/**
 * Register the commissioning handlers on the 0xFFF6 transport.
 *
 * Call after the reader is up. Nothing here touches the radio: whether the
 * board is discoverable as a commissionable node is decided by the advertising
 * branch in ultrawidelock_ble_zephyr.c, which asks for the Matter payload while this
 * node holds no fabric -- see matter_commission_has_fabric().
 *
 * @return 0. A bad verifier is reported by log and refused per attempt rather
 *         than failing startup -- a reader that cannot commission should still
 *         be a reader.
 */
int matter_commission_init(void);

/**
 * Whether this node currently holds a commissioned Matter fabric.
 *
 * Asked by the advertiser, which can carry the Matter commissionable
 * service data OR the credential reader tag but not both: flags 3 + Matter 12 +
 * credential 26 is 41 bytes in a 31-byte legacy packet, and a second advertising
 * set costs 24.8 KB of RAM.
 *
 * A device with no fabric MUST stay commissionable. Provisioning the reader
 * identity used to flip the advert to credential on its own, which left a board
 * that had just been provisioned -- and had lost its fabric to a failed
 * pairing -- invisible to Add Accessory and impossible to recover without
 * erasing it.
 */
bool matter_commission_has_fabric(void);

/**
 * True while an AdministratorCommissioning window is open.
 *
 * The advertiser needs this: a node that HAS a fabric normally advertises as
 * a credential reader, and doing that during a commissioning window hides it from
 * the very ecosystem the window was opened for.
 */
bool matter_commission_window_open(void);

/**
 * Finish the one packet previously accepted by the Matter BLE transport.
 * Called exactly once by the transport after final confirmation or failure.
 */
void matter_commission_ble_tx_complete(int status);

#ifdef __cplusplus
}
#endif
```
